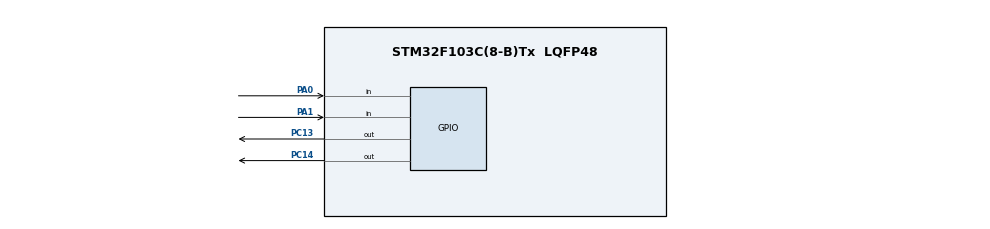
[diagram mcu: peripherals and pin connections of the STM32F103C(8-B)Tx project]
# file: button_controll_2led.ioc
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Mcu.Family=STM32F1
Mcu.Name=STM32F103C(8-B)Tx
Mcu.Package=LQFP48
NVIC.PriorityGroup=NVIC_PRIORITYGROUP_4
PA0-WKUP.GPIO_PuPd=GPIO_PULLUP
PA0-WKUP.Signal=GPIO_Input
PA1.GPIO_PuPd=GPIO_PULLUP
PA1.Signal=GPIO_Input
PA13.Mode=Serial_Wire
PA13.Signal=SYS_JTMS-SWDIO
PA14.Mode=Serial_Wire
PA14.Signal=SYS_JTCK-SWCLK
PC13-TAMPER-RTC.Signal=GPIO_Output
PC14-OSC32_IN.Signal=GPIO_Output
PD0-OSC_IN.Mode=HSE-External-Oscillator
PD0-OSC_IN.Signal=RCC_OSC_IN
PD1-OSC_OUT.Mode=HSE-External-Oscillator
PD1-OSC_OUT.Signal=RCC_OSC_OUT
ProjectManager.HeapSize=0x200
ProjectManager.StackSize=0x400
ProjectManager.TargetToolchain=MDK-ARM V5.32
RCC.APB1Freq_Value=8000000
RCC.APB2Freq_Value=8000000
board=custom

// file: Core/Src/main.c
/* USER CODE BEGIN Header */
/**
  ******************************************************************************
  * @file           : main.c
  * @brief          : Main program body
  ******************************************************************************
  * @attention
  *
  * Copyright (c) 2024 STMicroelectronics.
  * All rights reserved.
  *
  * This software is licensed under terms that can be found in the LICENSE file
  * in the root directory of this software component.
  * If no LICENSE file comes with this software, it is provided AS-IS.
  *
  ******************************************************************************
  */
/* USER CODE END Header */
#include "main.h"

/* USER CODE BEGIN Includes */
#include "button.h"
/* USER CODE END Includes */

void SystemClock_Config(void);
static void MX_GPIO_Init(void);

/* USER CODE BEGIN 0 */
Button_Typedef button1;
Button_Typedef button2;
typedef enum {
    LED_OFF,
    LED1_BLINK_1HZ,
    LED2_BLINK_5HZ,
} LedStatus;

LedStatus led_status = LED_OFF;

void btn_pressing_callback(GPIO_TypeDef *GPIOx, uint16_t GPIO_Pin) {
  if(GPIOx == GPIOA && GPIO_Pin == GPIO_PIN_0)
	{
		switch (led_status)
		{
        case LED_OFF:
            led_status = LED1_BLINK_1HZ;
            break;
        case LED1_BLINK_1HZ:
            led_status = LED2_BLINK_5HZ;
            break;
        case LED2_BLINK_5HZ:
            led_status = LED_OFF;
            break;
        default:
            break;
    }
	}
}

// ------ xu lý led -------
void ledOff() {
    HAL_GPIO_WritePin(GPIOC, GPIO_PIN_13, 1);
    HAL_GPIO_WritePin(GPIOC, GPIO_PIN_14, 0);
}

void led1Blynk() {
    static uint32_t time_current1;
    if (HAL_GetTick() - time_current1 >= 500) {
        HAL_GPIO_TogglePin(GPIOC, GPIO_PIN_13);
        time_current1 = HAL_GetTick();
    }
}

void led2Blynk() {
    static uint32_t time_current2;
    if (HAL_GetTick() - time_current2 >= 100) {
        HAL_GPIO_TogglePin(GPIOC, GPIO_PIN_14);
        time_current2 = HAL_GetTick();
    }
}

void led_handle() {
    switch (led_status) {
        case LED_OFF:
            ledOff();
            break;

        case LED1_BLINK_1HZ:
            led1Blynk();
            break;

        case LED2_BLINK_5HZ:
            led2Blynk();
            break;

        default:
            break;
    }
}

/* USER CODE END 0 */

int main(void)
{

  /* MCU Configuration--------------------------------------------------------*/

  /* Reset of all peripherals, Initializes the Flash interface and the Systick. */
  HAL_Init();

  /* Configure the system clock */
  SystemClock_Config();

  /* Initialize all configured peripherals */
  MX_GPIO_Init();
  /* USER CODE BEGIN 2 */
		button_init(&button1, GPIOA, GPIO_PIN_0);
		button_init(&button2, GPIOA, GPIO_PIN_1);
		//led_status = LED_OFF;

  /* USER CODE END 2 */

  /* Infinite loop */
    while (1) {
		button_handle(&button1);
		led_handle();
    }
}

void SystemClock_Config(void)
{
  RCC_OscInitTypeDef RCC_OscInitStruct = {0};
  RCC_ClkInitTypeDef RCC_ClkInitStruct = {0};

  /** Initializes the RCC Oscillators according to the specified parameters
  * in the RCC_OscInitTypeDef structure.
  */
  RCC_OscInitStruct.OscillatorType = RCC_OSCILLATORTYPE_HSI;
  RCC_OscInitStruct.HSIState = RCC_HSI_ON;
  RCC_OscInitStruct.HSICalibrationValue = RCC_HSICALIBRATION_DEFAULT;
  RCC_OscInitStruct.PLL.PLLState = RCC_PLL_NONE;
  if (HAL_RCC_OscConfig(&RCC_OscInitStruct) != HAL_OK)
  {
    Error_Handler();
  }

  /** Initializes the CPU, AHB and APB buses clocks
  */
  RCC_ClkInitStruct.ClockType = RCC_CLOCKTYPE_HCLK|RCC_CLOCKTYPE_SYSCLK
                              |RCC_CLOCKTYPE_PCLK1|RCC_CLOCKTYPE_PCLK2;
  RCC_ClkInitStruct.SYSCLKSource = RCC_SYSCLKSOURCE_HSI;
  RCC_ClkInitStruct.AHBCLKDivider = RCC_SYSCLK_DIV1;
  RCC_ClkInitStruct.APB1CLKDivider = RCC_HCLK_DIV1;
  RCC_ClkInitStruct.APB2CLKDivider = RCC_HCLK_DIV1;

  if (HAL_RCC_ClockConfig(&RCC_ClkInitStruct, FLASH_LATENCY_0) != HAL_OK)
  {
    Error_Handler();
  }
}

static void MX_GPIO_Init(void)
{
  GPIO_InitTypeDef GPIO_InitStruct = {0};

  /* GPIO Ports Clock Enable */
  __HAL_RCC_GPIOC_CLK_ENABLE();
  __HAL_RCC_GPIOD_CLK_ENABLE();
  __HAL_RCC_GPIOA_CLK_ENABLE();

  /*Configure GPIO pin Output Level */
  HAL_GPIO_WritePin(GPIOC, GPIO_PIN_13|GPIO_PIN_14, GPIO_PIN_RESET);

  /*Configure GPIO pins : PC13 PC14 */
  GPIO_InitStruct.Pin = GPIO_PIN_13|GPIO_PIN_14;
  GPIO_InitStruct.Mode = GPIO_MODE_OUTPUT_PP;
  GPIO_InitStruct.Pull = GPIO_NOPULL;
  GPIO_InitStruct.Speed = GPIO_SPEED_FREQ_LOW;
  HAL_GPIO_Init(GPIOC, &GPIO_InitStruct);

  /*Configure GPIO pins : PA0 PA1 */
  GPIO_InitStruct.Pin = GPIO_PIN_0|GPIO_PIN_1;
  GPIO_InitStruct.Mode = GPIO_MODE_INPUT;
  GPIO_InitStruct.Pull = GPIO_PULLUP;
  HAL_GPIO_Init(GPIOA, &GPIO_InitStruct);

}

void Error_Handler(void)
{
  /* USER CODE BEGIN Error_Handler_Debug */
    /* Ngu?i dùng có th? thêm ph?n tri?n khai c?a mình d? báo cáo tr?ng thái l?i HAL */
    __disable_irq();
    while (1) {
    }
  /* USER CODE END Error_Handler_Debug */
}

#ifdef  USE_FULL_ASSERT
/**
  * @brief  Reports the name of the source file and the source line number
  *         where the assert_param error has occurred.
  * @param  file: pointer to the source file name
  * @param  line: assert_param error line source number
  * @retval None
  */
void assert_failed(uint8_t *file, uint32_t line)
{
  /* USER CODE BEGIN 6 */
    /* Ngu?i dùng có th? thêm ph?n tri?n khai c?a mình d? báo cáo tên t?p và s? dòng,
       ví d?: printf("Thông s? sai: t?p %s trên dòng %d\r\n", file, line) */
  /* USER CODE END 6 */
}
#endif /* USE_FULL_ASSERT */
